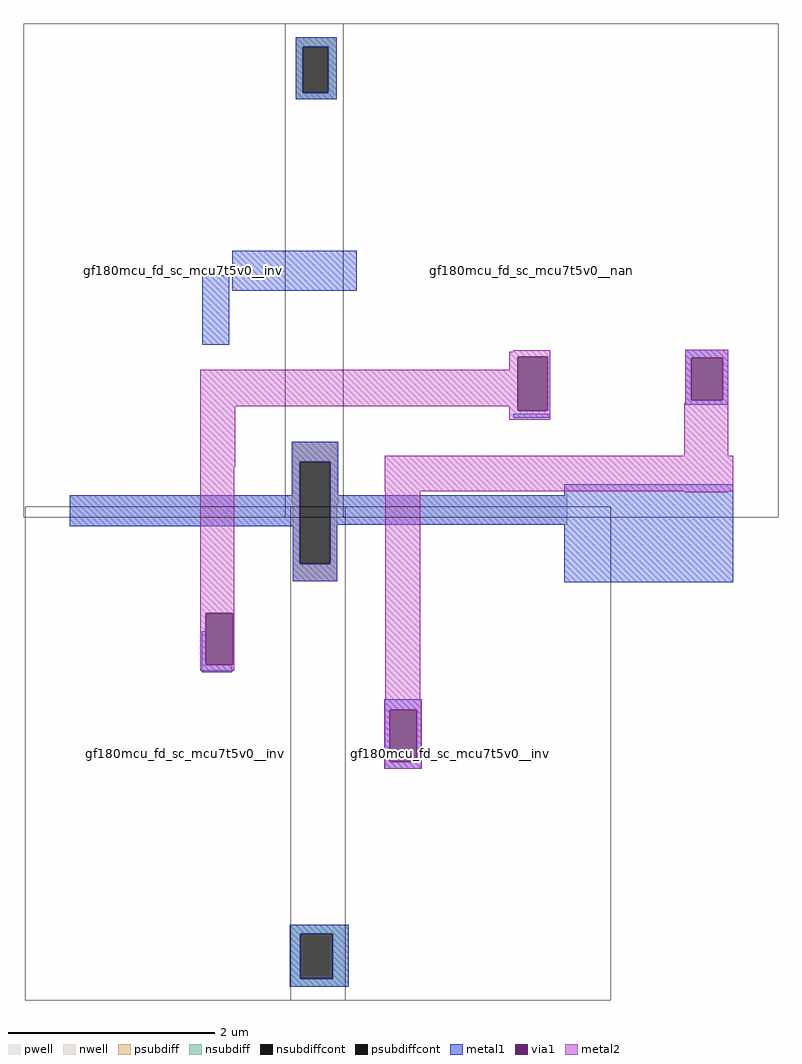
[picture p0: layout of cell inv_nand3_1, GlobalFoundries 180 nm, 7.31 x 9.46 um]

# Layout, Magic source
magic
tech gf180mcuD
magscale 1 10
<< nwell >>
rect 441 724 521 844
<< pwell >>
rect 436 -44 522 59
rect 3 -101 968 -44
rect 3 -104 522 -101
rect 436 -210 522 -104
<< psubdiff >>
rect 434 21 524 60
rect 434 -60 449 21
rect 436 -176 449 -60
rect 508 -60 524 21
rect 508 -176 522 -60
rect 436 -210 522 -176
<< nsubdiff >>
rect 441 826 521 844
rect 441 737 455 826
rect 504 737 521 826
rect 441 724 521 737
rect 430 -894 544 -876
rect 430 -981 450 -894
rect 513 -981 544 -894
rect 430 -996 544 -981
<< psubdiffcont >>
rect 449 -176 508 21
<< nsubdiffcont >>
rect 455 737 504 826
rect 450 -981 513 -894
<< metal1 >>
rect 441 826 521 844
rect 441 737 455 826
rect 504 737 521 826
rect 441 724 521 737
rect 260 248 313 383
rect 318 353 560 430
rect 1197 223 1280 239
rect 1197 141 1208 223
rect 1269 141 1280 223
rect 1197 132 1280 141
rect 863 107 935 114
rect 434 21 524 60
rect 434 -44 449 21
rect 3 -104 449 -44
rect 436 -176 449 -104
rect 508 -44 524 21
rect 962 -44 1290 -22
rect 508 -101 1290 -44
rect 508 -176 522 -101
rect 436 -210 522 -176
rect 962 -212 1290 -101
rect 259 -372 267 -307
rect 259 -387 318 -372
rect 614 -459 685 -439
rect 614 -560 624 -459
rect 676 -560 685 -459
rect 614 -574 685 -560
rect 430 -894 544 -876
rect 430 -981 450 -894
rect 513 -981 544 -894
rect 430 -996 544 -981
<< via1 >>
rect 872 120 930 225
rect 1208 141 1269 223
rect 267 -372 319 -272
rect 624 -560 676 -459
<< metal2 >>
rect 863 235 935 238
rect 855 225 935 235
rect 855 200 872 225
rect 256 129 872 200
rect 256 12 324 129
rect 855 120 872 129
rect 930 120 935 225
rect 1197 223 1280 239
rect 1197 141 1208 223
rect 1269 141 1280 223
rect 1197 135 1280 141
rect 855 103 935 120
rect 1195 33 1280 135
rect 256 -272 322 12
rect 614 -36 1290 33
rect 256 -372 267 -272
rect 319 -372 322 -272
rect 256 -384 322 -372
rect 615 -439 683 -36
rect 1195 -38 1280 -36
rect 613 -459 686 -439
rect 613 -560 624 -459
rect 676 -560 686 -459
rect 613 -574 686 -560
use gf180mcu_fd_sc_mcu7t5v0__inv_1  gf180mcu_fd_sc_mcu7t5v0__inv_1_0 ~/conda-gf180mcu-env/envs/gf180mcu-env/share/pdk/gf180mcuD/libs.ref/gf180mcu_fd_sc_mcu7t5v0/mag
transform 1 0 0 0 1 0
box -86 -86 534 870
use gf180mcu_fd_sc_mcu7t5v0__inv_1  gf180mcu_fd_sc_mcu7t5v0__inv_1_1
transform 1 0 3 0 -1 -152
box -86 -86 534 870
use gf180mcu_fd_sc_mcu7t5v0__inv_1  gf180mcu_fd_sc_mcu7t5v0__inv_1_2
transform 1 0 518 0 -1 -152
box -86 -86 534 870
use gf180mcu_fd_sc_mcu7t5v0__nand3_1  gf180mcu_fd_sc_mcu7t5v0__nand3_1_0 ~/conda-gf180mcu-env/envs/gf180mcu-env/share/pdk/gf180mcuD/libs.ref/gf180mcu_fd_sc_mcu7t5v0/mag
transform 1 0 507 0 1 0
box -86 -86 870 870
<< end >>
